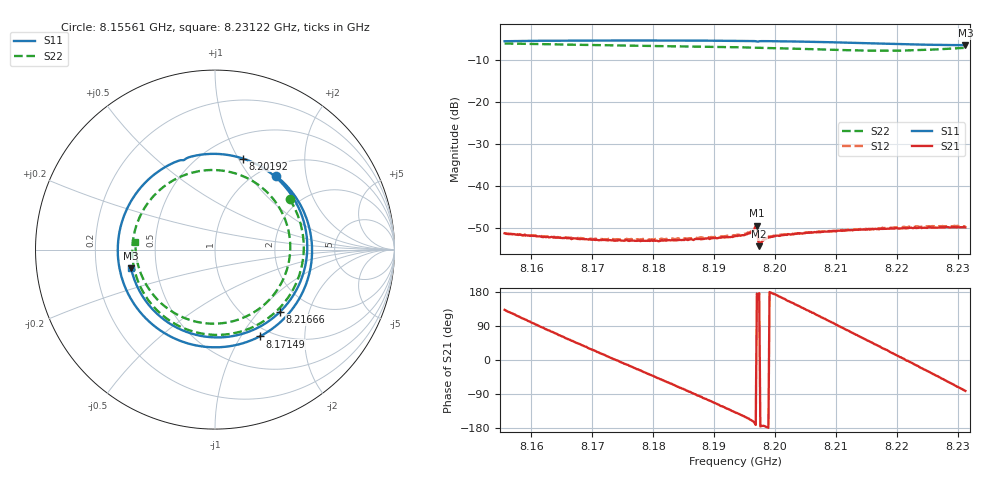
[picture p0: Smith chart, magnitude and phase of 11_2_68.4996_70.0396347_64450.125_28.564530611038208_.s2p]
#  HZ  S  RI  R  50.00
! Rohde & Schwarz Vector Network Analyzer
! Rohde-Schwarz,ZNB20-2Port,1311601062101988,3.16
! Created: UTC 3/20/2024, 5:04:10 PM
! freq[Hz]  re:S11  im:S11  re:S21  im:S21  re:S12  im:S12  re:S22  im:S22
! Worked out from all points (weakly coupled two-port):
!   401 points, 8.15561 GHz to 8.23122 GHz, reference 50 ohm
!   highest |S21| = -49.40 dB at 8.19701 GHz (marker M1); lowest = -54.3 dB at 8.19739 GHz (marker M2)
!   lowest |S11| = -6.4 dB at 8.23122 GHz (marker M3), VSWR 2.84, Z = 17.8 - j4.78 ohm
!   |S11| at or under -10 dB: nowhere
!   |S22| runs from -7.7 to -6.0 dB; largest |S21 - S12| = 0.00023
!   S11 on the Smith chart (normalised r, x): 8.15561 GHz: 1.18, +1.36; 8.17149 GHz: 0.88, -1.21; 8.20192 GHz: 0.74, +1.05; 8.21666 GHz: 1.42, -1.32; 8.23122 GHz: 0.36, -0.10
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8.155615e9  0.3387 0.4119  -0.00186 0.00203  -0.00182 0.00203  0.4152 0.281
8.162041e9  0.5386 0.0426  0.000241 0.00248  0.000275 0.00252  0.4827 -0.0957
8.168278e9  0.4174 -0.3484  0.00183 0.00149  0.00185 0.00154  0.2793 -0.3935
8.171492e9  0.249 -0.4841  0.00219 0.000652  0.00225 0.000699  0.1083 -0.4652
8.176217e9  -0.0642 -0.5405  0.00216 -0.000628  0.00225 -0.000668  -0.1575 -0.4444
8.180942e9  -0.3572 -0.4097  0.00146 -0.00167  0.00151 -0.00175  -0.368 -0.2863
8.187179e9  -0.5413 -0.0298  -0.000133 -0.00235  -0.000169 -0.00243  -0.458 0.0412
8.190203e9  -0.5104 0.1783  -0.000979 -0.00221  -0.00108 -0.00224  -0.4098 0.2013
8.193417e9  -0.3929 0.3689  -0.00189 -0.0017  -0.00197 -0.00169  -0.2983 0.3403
8.19663e9  -0.2042 0.4945  -0.00302 -0.000761  -0.00308 -0.000651  -0.1405 0.425
8.197008e9  -0.1771 0.4982  -0.00338 0.000297  -0.00342 0.000432  -0.12 0.4302
8.197386e9  -0.161 0.5076  -0.00193 0.000123  -0.00194 0.000194  -0.0995 0.4352
8.197764e9  -0.1343 0.5176  -0.00214 -0.000221  -0.00219 -0.000152  -0.0782 0.4389
8.201922e9  0.1571 0.5069  -0.00243 0.00103  -0.00244 0.00109  0.1542 0.4098
8.20608e9  0.397 0.3425  -0.0016 0.00231  -0.00153 0.00236  0.3407 0.2609
8.211372e9  0.5136 -0.00773  0.000399 0.00294  0.000476 0.00296  0.4159 -0.0405
8.216665e9  0.3616 -0.3474  0.00239 0.00195  0.00247 0.00193  0.2557 -0.3222
8.218744e9  0.2399 -0.4348  0.00289 0.00119  0.00297 0.0011  0.1382 -0.3872
8.221579e9  0.0432 -0.4884  0.00316 -9.91e-05  0.00326 -0.000123  -0.0467 -0.411
8.224414e9  -0.1585 -0.4587  0.00291 -0.00135  0.00296 -0.00149  -0.228 -0.3524
8.228005e9  -0.3678 -0.3098  0.0019 -0.00265  0.00182 -0.00279  -0.3953 -0.1736
8.231218e9  -0.4676 -0.1035  0.000476 -0.0032  0.000302 -0.00333  -0.4431 0.0443
